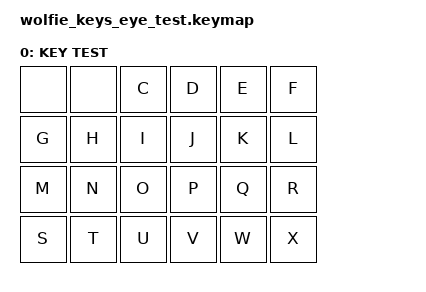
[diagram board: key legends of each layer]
#include <behaviors.dtsi>
#include <dt-bindings/zmk/keys.h>

/*
 * Temporary ALPHABET-ONLY keymap to test for phantom presses safely.
 * No modifier, number, special-function, layer, or shortcut keys.
 * Physical top row (left to right):    X W V U T S
 * Physical middle row:                R Q P O N M
 * Physical third row:                 L K J I H G
 * Physical thumb switches:            F E D C
 * Matrix row 0 columns 0-1 are not physically populated.
 * Restore the normal QWERTY keymap only after zero phantom inputs.
 */
/ {
    keymap {
        compatible = "zmk,keymap";
        default_layer {
            display-name = "KEY TEST";
            bindings = <
                &none &none &kp C &kp D &kp E &kp F
                &kp G &kp H &kp I &kp J &kp K &kp L
                &kp M &kp N &kp O &kp P &kp Q &kp R
                &kp S &kp T &kp U &kp V &kp W &kp X
            >;
        };
    };
};
